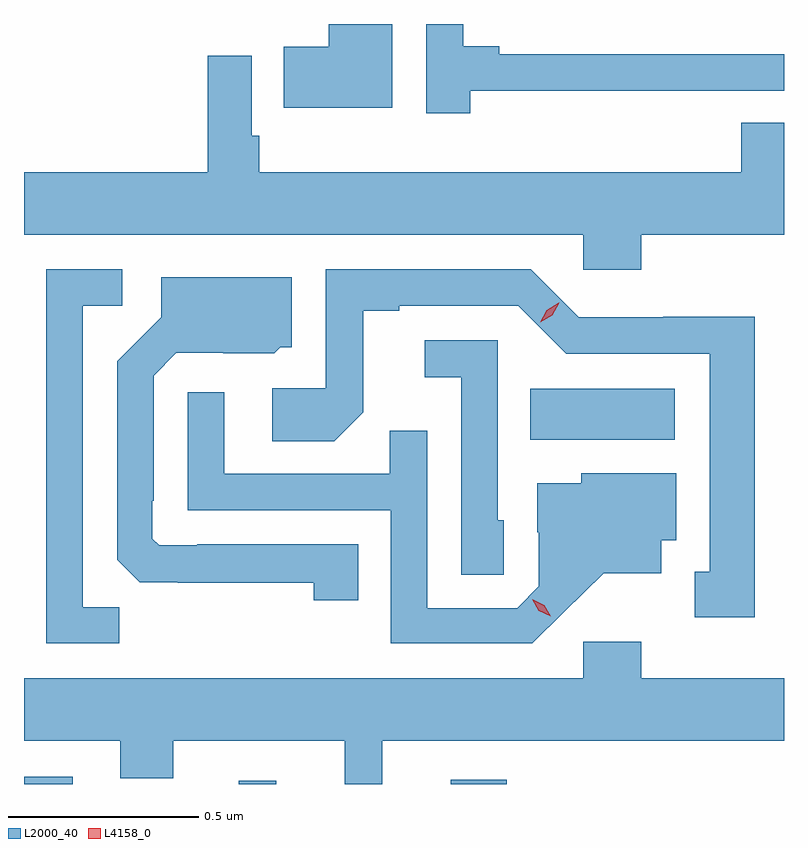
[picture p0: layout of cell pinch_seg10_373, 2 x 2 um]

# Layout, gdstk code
import gdstk
lib = gdstk.Library(unit=1e-6, precision=1e-09)
def R(c, l, rs):  # rectangles x0, y0, x1, y1
    for r in rs: c.add(gdstk.rectangle(r[:2], r[2:], *l))
def P(c, l, *ps):  # polygons
    for p in ps: c.add(gdstk.Polygon(p, *l))
L2000_40 = (2000, 40)
L4158_0 = (4158, 0)

pinch_seg10_373 = lib.new_cell('pinch_seg10_373')
R(pinch_seg10_373, L2000_40, [(399.55,1268.234,399.678,1268.253), (400.115,1268.234,400.214,1268.242), (400.673,1268.234,400.82,1268.245), (400.882,1269.14,401.263,1269.274)])
P(pinch_seg10_373, L2000_40, [(400.724,1270.058),(401.354,1270.058),(401.354,1270.059),(401.55,1270.059),(401.55,1270.155),(400.801,1270.155),(400.801,1270.175),(400.706,1270.175),(400.706,1270.234),(400.608,1270.234),(400.608,1269.999),(400.724,1269.999)],
  [(400.519,1270.234),(400.352,1270.234),(400.352,1270.174),(400.234,1270.174),(400.234,1270.013),(400.519,1270.013)],
  [(401.174,1269.68),(401.55,1269.68),(401.55,1269.974),(401.438,1269.974),(401.438,1269.844),(400.169,1269.844),(400.169,1269.94),(400.149,1269.94),(400.149,1270.15),(400.033,1270.15),(400.033,1269.844),(399.55,1269.844),(399.55,1269.68),(401.022,1269.68),(401.022,1269.587),(401.174,1269.587)],
  [(401.473,1269.464),(401.232,1269.464),(401.232,1269.462),(401.01,1269.462),(400.884,1269.588),(400.344,1269.588),(400.344,1269.276),(400.203,1269.276),(400.203,1269.136),(400.367,1269.136),(400.443,1269.212),(400.443,1269.48),(400.537,1269.48),(400.537,1269.492),(400.851,1269.492),(400.977,1269.366),(401.354,1269.366),(401.354,1268.793),(401.315,1268.793),(401.315,1268.673),(401.473,1268.673)],
  [(399.801,1268.699),(399.705,1268.699),(399.705,1269.492),(399.808,1269.492),(399.808,1269.588),(399.609,1269.588),(399.609,1268.604),(399.801,1268.604)],
  [(400.43,1268.865),(400.006,1268.865),(400.006,1268.862),(399.906,1268.862),(399.888,1268.88),(399.888,1268.98),(399.891,1268.98),(399.891,1269.309),(399.951,1269.369),(400.074,1269.369),(400.074,1269.368),(400.208,1269.368),(400.224,1269.384),(400.255,1269.384),(400.255,1269.568),(399.911,1269.568),(399.911,1269.462),(399.795,1269.346),(399.795,1268.824),(399.854,1268.765),(399.955,1268.765),(399.955,1268.764),(400.312,1268.764),(400.312,1268.718),(400.43,1268.718)],
  [(400.812,1268.928),(400.797,1268.928),(400.797,1269.402),(400.605,1269.402),(400.605,1269.305),(400.701,1269.305),(400.701,1268.785),(400.812,1268.785)],
  [(400.972,1268.687),(401.075,1268.789),(401.227,1268.789),(401.227,1268.876),(401.266,1268.876),(401.266,1269.052),(401.016,1269.052),(401.016,1269.025),(400.901,1269.025),(400.901,1268.896),(400.905,1268.896),(400.905,1268.754),(400.848,1268.697),(400.611,1268.697),(400.611,1269.164),(400.513,1269.164),(400.513,1269.051),(400.077,1269.051),(400.077,1269.265),(399.981,1269.265),(399.981,1268.955),(400.515,1268.955),(400.515,1268.604),(400.888,1268.604)],
  [(400.493,1268.348),(401.55,1268.348),(401.55,1268.512),(401.174,1268.512),(401.174,1268.608),(401.022,1268.608),(401.022,1268.512),(399.55,1268.512),(399.55,1268.348),(399.803,1268.348),(399.803,1268.249),(399.943,1268.249),(399.943,1268.348),(400.394,1268.348),(400.394,1268.234),(400.493,1268.234)])
P(pinch_seg10_373, L4158_0, [(400.908,1269.449),(400.908,1269.449),(400.926,1269.481),(400.957,1269.5),(400.958,1269.5),(400.958,1269.5),(400.94,1269.467),(400.908,1269.449)],
  [(400.936,1268.676),(400.905,1268.69),(400.888,1268.72),(400.888,1268.72),(400.888,1268.72),(400.919,1268.705),(400.936,1268.676),(400.936,1268.676)])

lib.write_gds('pinch_seg10_373.gds')
